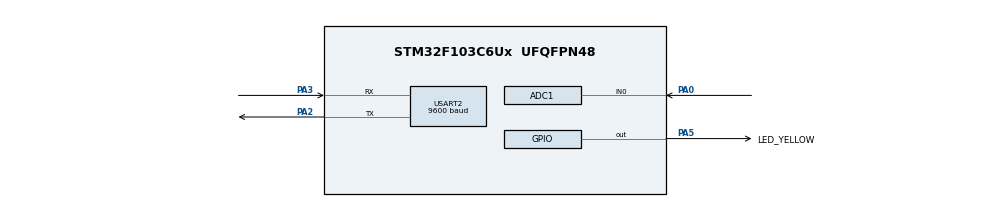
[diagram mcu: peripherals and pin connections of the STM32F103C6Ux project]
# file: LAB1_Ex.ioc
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ADC1.Channel-0\#ChannelRegularConversion=ADC_CHANNEL_0
ADC1.ContinuousConvMode=ENABLE
ADC1.NbrOfConversionFlag=1
ADC1.Rank-0\#ChannelRegularConversion=1
ADC1.SamplingTime-0\#ChannelRegularConversion=ADC_SAMPLETIME_1CYCLE_5
ADC1.master=1
Mcu.Family=STM32F1
Mcu.Name=STM32F103C6Ux
Mcu.Package=UFQFPN48
NVIC.PriorityGroup=NVIC_PRIORITYGROUP_4
NVIC.TIM2_IRQn=true\:0\:0\:false\:false\:true\:true\:true
NVIC.USART2_IRQn=true\:0\:0\:false\:false\:true\:true\:true
PA0-WKUP.Signal=ADCx_IN0
PA2.Mode=Asynchronous
PA2.Signal=USART2_TX
PA3.Mode=Asynchronous
PA3.Signal=USART2_RX
PA5.GPIO_Label=LED_YELLOW
PA5.Signal=GPIO_Output
ProjectManager.HeapSize=0x200
ProjectManager.StackSize=0x400
ProjectManager.TargetToolchain=STM32CubeIDE
RCC.APB1Freq_Value=8000000
RCC.APB2Freq_Value=8000000
SH.ADCx_IN0.0=ADC1_IN0,IN0
TIM2.Period=9
TIM2.Prescaler=7999
USART2.BaudRate=9600
USART2.VirtualMode=VM_ASYNC
VP_SYS_VS_ND.Mode=No_Debug
VP_TIM2_VS_ClockSourceINT.Mode=Internal
board=custom

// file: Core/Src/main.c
/* USER CODE BEGIN Header */
/**
  ******************************************************************************
  * @file           : main.c
  * @brief          : Main program body
  ******************************************************************************
  * @attention
  *
  * <h2><center>&copy; Copyright (c) 2024 STMicroelectronics.
  * All rights reserved.</center></h2>
  *
  * This software component is licensed by ST under BSD 3-Clause license,
  * the "License"; You may not use this file except in compliance with the
  * License. You may obtain a copy of the License at:
  *                        opensource.org/licenses/BSD-3-Clause
  *
  ******************************************************************************
  */
/* USER CODE END Header */
#include "main.h"

/* USER CODE BEGIN Includes */
#include "Software.h"
#include <stdio.h>
#include <stdlib.h>
#include <string.h>
#include "Auto_fsm.h"
#include "global.h"
/* USER CODE END Includes */

ADC_HandleTypeDef hadc1;

TIM_HandleTypeDef htim2;

UART_HandleTypeDef huart2;

void SystemClock_Config(void);
static void MX_GPIO_Init(void);
static void MX_TIM2_Init(void);
static void MX_ADC1_Init(void);
static void MX_USART2_UART_Init(void);

/* USER CODE BEGIN 0 */
void HAL_UART_RxCpltCallback(UART_HandleTypeDef *huart) {
	if (huart->Instance == USART2) {
		HAL_UART_Transmit(&huart2, &buffer_byte, 1, 500);
		buffer[index_buffer] = buffer_byte;
		index_buffer++;
		if (index_buffer == MAX_BUFFER_SIZE)
			index_buffer = 0;
		buffer_flag = 1;
		HAL_UART_Receive_IT(&huart2, &buffer_byte, 1);
	}
}
/* USER CODE END 0 */

int main(void)
{

  /* MCU Configuration--------------------------------------------------------*/

  /* Reset of all peripherals, Initializes the Flash interface and the Systick. */
  HAL_Init();

  /* Configure the system clock */
  SystemClock_Config();

  /* Initialize all configured peripherals */
  MX_GPIO_Init();
  MX_TIM2_Init();
  MX_ADC1_Init();
  MX_USART2_UART_Init();
  /* USER CODE BEGIN 2 */
  HAL_TIM_Base_Start_IT(&htim2);
  /* USER CODE END 2 */
  HAL_TIM_Base_Start_IT(&htim2);
  HAL_UART_Receive_IT(&huart2, &buffer_byte, 1);
  HAL_ADC_Start(&hadc1);
  setTimer2(50);
  /* Infinite loop */
  while (1)
  {
	  if (timer2_flag == 1) {
	  			HAL_GPIO_TogglePin(LED_YELLOW_GPIO_Port, LED_YELLOW_Pin);
	  			setTimer2(50);
			}
			if (buffer_flag == 1) {
				command_parser_fsm();
				buffer_flag = 0;
			}
			uart_communiation_fsm();
		}
}

void SystemClock_Config(void)
{
  RCC_OscInitTypeDef RCC_OscInitStruct = {0};
  RCC_ClkInitTypeDef RCC_ClkInitStruct = {0};
  RCC_PeriphCLKInitTypeDef PeriphClkInit = {0};

  /** Initializes the RCC Oscillators according to the specified parameters
  * in the RCC_OscInitTypeDef structure.
  */
  RCC_OscInitStruct.OscillatorType = RCC_OSCILLATORTYPE_HSI;
  RCC_OscInitStruct.HSIState = RCC_HSI_ON;
  RCC_OscInitStruct.HSICalibrationValue = RCC_HSICALIBRATION_DEFAULT;
  RCC_OscInitStruct.PLL.PLLState = RCC_PLL_NONE;
  if (HAL_RCC_OscConfig(&RCC_OscInitStruct) != HAL_OK)
  {
    Error_Handler();
  }
  /** Initializes the CPU, AHB and APB buses clocks
  */
  RCC_ClkInitStruct.ClockType = RCC_CLOCKTYPE_HCLK|RCC_CLOCKTYPE_SYSCLK
                              |RCC_CLOCKTYPE_PCLK1|RCC_CLOCKTYPE_PCLK2;
  RCC_ClkInitStruct.SYSCLKSource = RCC_SYSCLKSOURCE_HSI;
  RCC_ClkInitStruct.AHBCLKDivider = RCC_SYSCLK_DIV1;
  RCC_ClkInitStruct.APB1CLKDivider = RCC_HCLK_DIV1;
  RCC_ClkInitStruct.APB2CLKDivider = RCC_HCLK_DIV1;

  if (HAL_RCC_ClockConfig(&RCC_ClkInitStruct, FLASH_LATENCY_0) != HAL_OK)
  {
    Error_Handler();
  }
  PeriphClkInit.PeriphClockSelection = RCC_PERIPHCLK_ADC;
  PeriphClkInit.AdcClockSelection = RCC_ADCPCLK2_DIV2;
  if (HAL_RCCEx_PeriphCLKConfig(&PeriphClkInit) != HAL_OK)
  {
    Error_Handler();
  }
}

static void MX_ADC1_Init(void)
{

  ADC_ChannelConfTypeDef sConfig = {0};

  /** Common config
  */
  hadc1.Instance = ADC1;
  hadc1.Init.ScanConvMode = ADC_SCAN_DISABLE;
  hadc1.Init.ContinuousConvMode = ENABLE;
  hadc1.Init.DiscontinuousConvMode = DISABLE;
  hadc1.Init.ExternalTrigConv = ADC_SOFTWARE_START;
  hadc1.Init.DataAlign = ADC_DATAALIGN_RIGHT;
  hadc1.Init.NbrOfConversion = 1;
  if (HAL_ADC_Init(&hadc1) != HAL_OK)
  {
    Error_Handler();
  }
  /** Configure Regular Channel
  */
  sConfig.Channel = ADC_CHANNEL_0;
  sConfig.Rank = ADC_REGULAR_RANK_1;
  sConfig.SamplingTime = ADC_SAMPLETIME_1CYCLE_5;
  if (HAL_ADC_ConfigChannel(&hadc1, &sConfig) != HAL_OK)
  {
    Error_Handler();
  }

}

static void MX_TIM2_Init(void)
{

  TIM_ClockConfigTypeDef sClockSourceConfig = {0};
  TIM_MasterConfigTypeDef sMasterConfig = {0};

  htim2.Instance = TIM2;
  htim2.Init.Prescaler = 7999;
  htim2.Init.CounterMode = TIM_COUNTERMODE_UP;
  htim2.Init.Period = 9;
  htim2.Init.ClockDivision = TIM_CLOCKDIVISION_DIV1;
  htim2.Init.AutoReloadPreload = TIM_AUTORELOAD_PRELOAD_DISABLE;
  if (HAL_TIM_Base_Init(&htim2) != HAL_OK)
  {
    Error_Handler();
  }
  sClockSourceConfig.ClockSource = TIM_CLOCKSOURCE_INTERNAL;
  if (HAL_TIM_ConfigClockSource(&htim2, &sClockSourceConfig) != HAL_OK)
  {
    Error_Handler();
  }
  sMasterConfig.MasterOutputTrigger = TIM_TRGO_RESET;
  sMasterConfig.MasterSlaveMode = TIM_MASTERSLAVEMODE_DISABLE;
  if (HAL_TIMEx_MasterConfigSynchronization(&htim2, &sMasterConfig) != HAL_OK)
  {
    Error_Handler();
  }

}

static void MX_USART2_UART_Init(void)
{

  huart2.Instance = USART2;
  huart2.Init.BaudRate = 9600;
  huart2.Init.WordLength = UART_WORDLENGTH_8B;
  huart2.Init.StopBits = UART_STOPBITS_1;
  huart2.Init.Parity = UART_PARITY_NONE;
  huart2.Init.Mode = UART_MODE_TX_RX;
  huart2.Init.HwFlowCtl = UART_HWCONTROL_NONE;
  huart2.Init.OverSampling = UART_OVERSAMPLING_16;
  if (HAL_UART_Init(&huart2) != HAL_OK)
  {
    Error_Handler();
  }

}

static void MX_GPIO_Init(void)
{
  GPIO_InitTypeDef GPIO_InitStruct = {0};

  /* GPIO Ports Clock Enable */
  __HAL_RCC_GPIOA_CLK_ENABLE();

  /*Configure GPIO pin Output Level */
  HAL_GPIO_WritePin(LED_YELLOW_GPIO_Port, LED_YELLOW_Pin, GPIO_PIN_RESET);

  /*Configure GPIO pin : LED_YELLOW_Pin */
  GPIO_InitStruct.Pin = LED_YELLOW_Pin;
  GPIO_InitStruct.Mode = GPIO_MODE_OUTPUT_PP;
  GPIO_InitStruct.Pull = GPIO_NOPULL;
  GPIO_InitStruct.Speed = GPIO_SPEED_FREQ_LOW;
  HAL_GPIO_Init(LED_YELLOW_GPIO_Port, &GPIO_InitStruct);

}

/* USER CODE BEGIN 4 */

void HAL_TIM_PeriodElapsedCallback(TIM_HandleTypeDef *htim){
	timerRun();
}
/* USER CODE END 4 */

void Error_Handler(void)
{
  __disable_irq();
  while (1)
  {
  }
}

/************************ (C) COPYRIGHT STMicroelectronics *****END OF FILE****/
